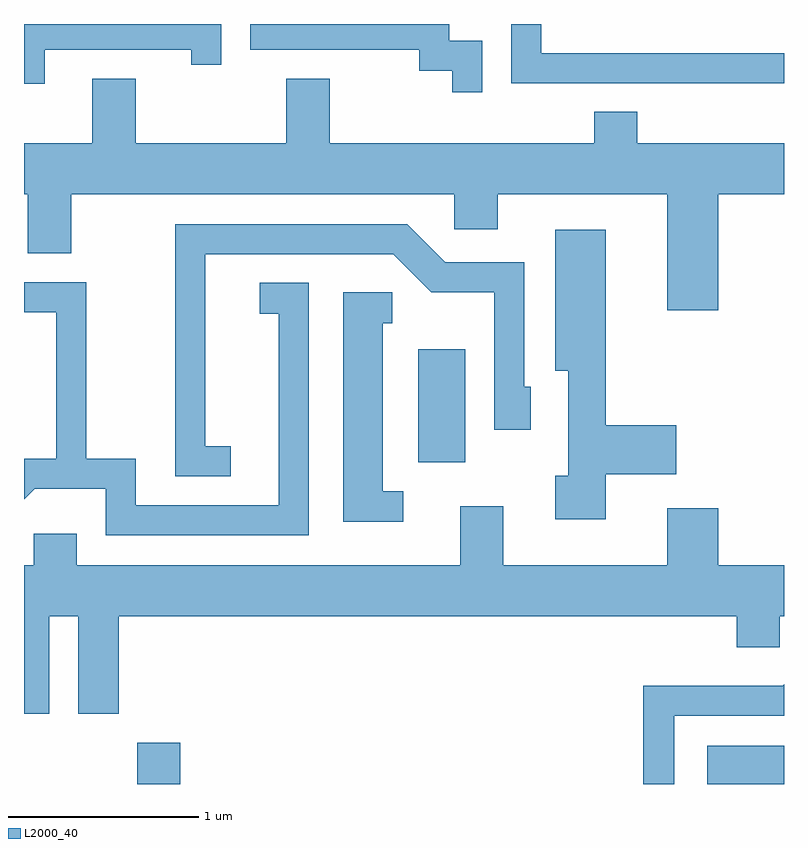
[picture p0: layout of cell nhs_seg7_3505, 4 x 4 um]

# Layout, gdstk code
import gdstk
lib = gdstk.Library(unit=1e-6, precision=1e-09)
def R(c, l, rs):  # rectangles x0, y0, x1, y1
    for r in rs: c.add(gdstk.rectangle(r[:2], r[2:], *l))
def P(c, l, *ps):  # polygons
    for p in ps: c.add(gdstk.Polygon(p, *l))
L2000_40 = (2000, 40)

nhs_seg7_3505 = lib.new_cell('nhs_seg7_3505')
R(nhs_seg7_3505, L2000_40, [(292.206,1782.252,292.434,1782.469), (295.206,1782.252,295.611,1782.454), (293.686,1783.946,293.934,1784.539), (294.486,1786.251,295.368,1786.252)])
P(nhs_seg7_3505, L2000_40, [(295.611,1786.099),(294.334,1786.099),(294.334,1786.252),(294.176,1786.252),(294.176,1785.941),(295.611,1785.941)],
  [(291.719,1786.116),(292.491,1786.116),(292.491,1786.038),(292.649,1786.038),(292.649,1786.252),(291.611,1786.252),(291.611,1785.938),(291.719,1785.938)],
  [(294.024,1786.164),(293.849,1786.164),(293.849,1786.252),(292.801,1786.252),(292.801,1786.116),(293.691,1786.116),(293.691,1786.006),(293.866,1786.006),(293.866,1785.893),(294.024,1785.893)],
  [(295.264,1785.356),(295.611,1785.356),(295.611,1785.624),(294.839,1785.624),(294.839,1785.789),(294.611,1785.789),(294.611,1785.624),(293.219,1785.624),(293.219,1785.964),(292.991,1785.964),(292.991,1785.624),(292.199,1785.624),(292.199,1785.964),(291.971,1785.964),(291.971,1785.624),(291.611,1785.624),(291.611,1785.356),(291.631,1785.356),(291.631,1785.046),(291.859,1785.046),(291.859,1785.356),(293.876,1785.356),(293.876,1785.171),(294.104,1785.171),(294.104,1785.356),(294.996,1785.356),(294.996,1784.746),(295.264,1784.746)],
  [(292.698,1784.029),(292.564,1784.029),(292.564,1785.041),(293.554,1785.041),(293.754,1784.841),(294.086,1784.841),(294.086,1784.116),(294.279,1784.116),(294.279,1784.344),(294.244,1784.344),(294.244,1784.999),(293.827,1784.999),(293.627,1785.199),(292.406,1785.199),(292.406,1783.871),(292.698,1783.871)],
  [(294.674,1783.881),(295.044,1783.881),(295.044,1784.139),(294.674,1784.139),(294.674,1785.169),(294.406,1785.169),(294.406,1784.426),(294.476,1784.426),(294.476,1783.874),(294.406,1783.874),(294.406,1783.646),(294.674,1783.646)],
  [(293.109,1784.889),(292.853,1784.889),(292.853,1784.726),(292.951,1784.726),(292.951,1783.719),(292.199,1783.719),(292.199,1783.964),(291.939,1783.964),(291.939,1784.894),(291.611,1784.894),(291.611,1784.736),(291.781,1784.736),(291.781,1783.964),(291.611,1783.964),(291.611,1783.75),(291.667,1783.806),(292.041,1783.806),(292.041,1783.561),(293.109,1783.561)],
  [(293.608,1783.794),(293.499,1783.794),(293.499,1784.676),(293.548,1784.676),(293.548,1784.839),(293.291,1784.839),(293.291,1783.631),(293.608,1783.631)],
  [(291.744,1783.136),(291.896,1783.136),(291.896,1782.621),(292.109,1782.621),(292.109,1783.136),(295.361,1783.136),(295.361,1782.971),(295.589,1782.971),(295.589,1783.136),(295.611,1783.136),(295.611,1783.404),(295.264,1783.404),(295.264,1783.704),(294.996,1783.704),(294.996,1783.404),(294.134,1783.404),(294.134,1783.714),(293.906,1783.714),(293.906,1783.404),(291.889,1783.404),(291.889,1783.569),(291.661,1783.569),(291.661,1783.404),(291.611,1783.404),(291.611,1782.621),(291.744,1782.621)],
  [(295.034,1782.611),(295.611,1782.611),(295.611,1782.776),(295.604,1782.769),(294.871,1782.769),(294.871,1782.252),(295.034,1782.252)])

lib.write_gds('nhs_seg7_3505.gds')
